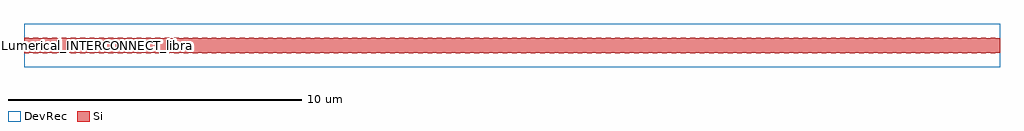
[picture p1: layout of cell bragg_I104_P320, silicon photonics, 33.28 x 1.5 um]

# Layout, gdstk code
import gdstk
lib = gdstk.Library(unit=1e-6, precision=1e-09)
def R(c, l, rs):  # rectangles x0, y0, x1, y1
    for r in rs: c.add(gdstk.rectangle(r[:2], r[2:], *l))
def A(c, l, x, y, w, h, nx, ny, dx, dy):  # array of equal rectangles
    R(c, l, [(x+i*dx, y+j*dy, x+i*dx+w, y+j*dy+h) for i in range(nx) for j in range(ny)])
Si = (1, 0)
DevRec = (68, 0)

bragg_i104_p320 = lib.new_cell('bragg_I104_P320')
A(bragg_i104_p320, Si, 0, -0.26, 0.16, 0.26, 104, 2, 0.32, 0.26)
A(bragg_i104_p320, Si, 0.16, -0.24, 0.16, 0.24, 104, 2, 0.32, 0.24)
R(bragg_i104_p320, DevRec, [(0,-0.75,33.28,0.75)])
bragg_i104_p320.add(gdstk.Label('Lumerical_INTERCONNECT_library=Design kits/ebeam', (0,0), layer=68, texttype=0))
bragg_i104_p320.add(gdstk.Label('Component=ebeam_bragg_te1550', (3.328,0), layer=68, texttype=0))
bragg_i104_p320.add(gdstk.Label('Spice_param:number_of_periods=104 grating_period=3.2e-07 corrugation_width=2e-08 misalignment=0 sinusoidal=0', (3.697,0), layer=68, texttype=0))

lib.write_gds('bragg_I104_P320.gds')
